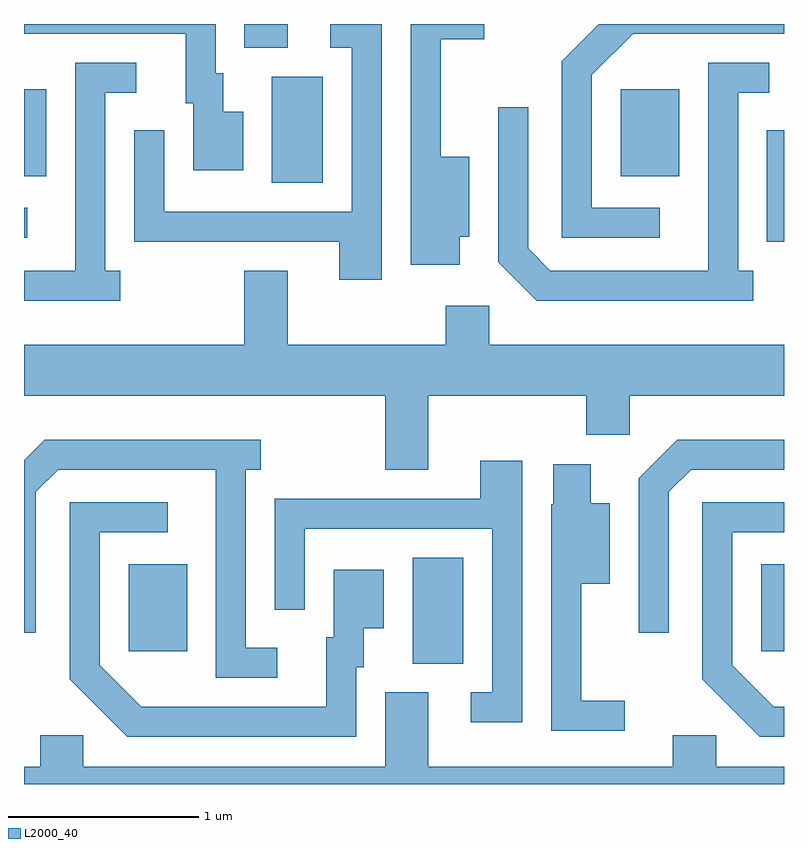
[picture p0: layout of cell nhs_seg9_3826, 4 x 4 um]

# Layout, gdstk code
import gdstk
lib = gdstk.Library(unit=1e-6, precision=1e-09)
def R(c, l, rs):  # rectangles x0, y0, x1, y1
    for r in rs: c.add(gdstk.rectangle(r[:2], r[2:], *l))
def P(c, l, *ps):  # polygons
    for p in ps: c.add(gdstk.Polygon(p, *l))
L2000_40 = (2000, 40)

nhs_seg9_3826 = lib.new_cell('nhs_seg9_3826')
R(nhs_seg9_3826, L2000_40, [(299.656,1997.066,299.924,1997.624), (298.161,1997.131,298.469,1997.589), (301.491,1997.131,301.611,1997.589), (301.521,1999.286,301.611,1999.873), (297.611,1999.306,297.628,1999.464), (298.916,1999.596,299.184,2000.154), (297.611,1999.631,297.729,2000.089), (300.751,1999.631,301.059,2000.089), (298.771,2000.306,298.999,2000.432)])
P(nhs_seg9_3826, L2000_40, [(299.494,2000.432),(299.223,2000.432),(299.223,2000.306),(299.336,2000.306),(299.336,1999.444),(298.349,1999.444),(298.349,1999.873),(298.191,1999.873),(298.191,1999.286),(299.271,1999.286),(299.271,1999.086),(299.494,1999.086)],
  [(300.958,1999.464),(300.599,1999.464),(300.599,2000.164),(300.817,2000.381),(301.611,2000.381),(301.611,2000.432),(300.637,2000.432),(300.441,2000.237),(300.441,1999.306),(300.958,1999.306)],
  [(299.904,1999.311),(299.954,1999.311),(299.954,1999.734),(299.804,1999.734),(299.804,2000.351),(300.033,2000.351),(300.033,2000.432),(299.646,2000.432),(299.646,1999.166),(299.904,1999.166)],
  [(298.764,1999.969),(298.659,1999.969),(298.659,2000.174),(298.619,2000.174),(298.619,2000.432),(297.611,2000.432),(297.611,2000.381),(298.461,2000.381),(298.461,2000.016),(298.501,2000.016),(298.501,1999.661),(298.764,1999.661)],
  [(298.118,1999.134),(298.039,1999.134),(298.039,2000.071),(298.203,2000.071),(298.203,2000.229),(297.881,2000.229),(297.881,1999.134),(297.611,1999.134),(297.611,1998.976),(298.118,1998.976)],
  [(301.448,1999.134),(301.369,1999.134),(301.369,2000.071),(301.533,2000.071),(301.533,2000.229),(301.211,2000.229),(301.211,1999.134),(300.382,1999.134),(300.264,1999.252),(300.264,1999.993),(300.106,1999.993),(300.106,1999.179),(300.309,1998.976),(301.448,1998.976)],
  [(299.739,1998.476),(300.571,1998.476),(300.571,1998.271),(300.799,1998.271),(300.799,1998.476),(301.611,1998.476),(301.611,1998.744),(300.059,1998.744),(300.059,1998.949),(299.831,1998.949),(299.831,1998.744),(298.999,1998.744),(298.999,1999.134),(298.771,1999.134),(298.771,1998.744),(297.611,1998.744),(297.611,1998.476),(299.511,1998.476),(299.511,1998.086),(299.739,1998.086)],
  [(298.943,1997.149),(298.779,1997.149),(298.779,1998.086),(298.858,1998.086),(298.858,1998.244),(297.719,1998.244),(297.611,1998.137),(297.611,1997.228),(297.674,1997.228),(297.674,1997.969),(297.792,1998.086),(298.621,1998.086),(298.621,1996.991),(298.943,1996.991)],
  [(301.004,1997.969),(301.122,1998.086),(301.611,1998.086),(301.611,1998.244),(301.049,1998.244),(300.846,1998.042),(300.846,1997.228),(301.004,1997.228)],
  [(300.234,1998.134),(300.011,1998.134),(300.011,1997.934),(298.931,1997.934),(298.931,1997.348),(299.089,1997.348),(299.089,1997.776),(300.076,1997.776),(300.076,1996.914),(299.963,1996.914),(299.963,1996.756),(300.234,1996.756)],
  [(300.773,1996.869),(300.544,1996.869),(300.544,1997.486),(300.694,1997.486),(300.694,1997.909),(300.594,1997.909),(300.594,1998.114),(300.396,1998.114),(300.396,1997.905),(300.386,1997.905),(300.386,1996.711),(300.773,1996.711)],
  [(299.359,1997.046),(299.399,1997.046),(299.399,1997.251),(299.504,1997.251),(299.504,1997.559),(299.241,1997.559),(299.241,1997.204),(299.201,1997.204),(299.201,1996.839),(298.227,1996.839),(298.009,1997.057),(298.009,1997.756),(298.368,1997.756),(298.368,1997.914),(297.851,1997.914),(297.851,1996.984),(298.154,1996.681),(299.359,1996.681)],
  [(301.611,1996.839),(301.557,1996.839),(301.339,1997.057),(301.339,1997.756),(301.611,1997.756),(301.611,1997.914),(301.181,1997.914),(301.181,1996.984),(301.484,1996.681),(301.611,1996.681)],
  [(299.511,1996.914),(299.511,1996.524),(297.924,1996.524),(297.924,1996.689),(297.696,1996.689),(297.696,1996.524),(297.611,1996.524),(297.611,1996.432),(301.611,1996.432),(301.611,1996.524),(301.254,1996.524),(301.254,1996.689),(301.026,1996.689),(301.026,1996.524),(299.739,1996.524),(299.739,1996.914)])

lib.write_gds('nhs_seg9_3826.gds')
